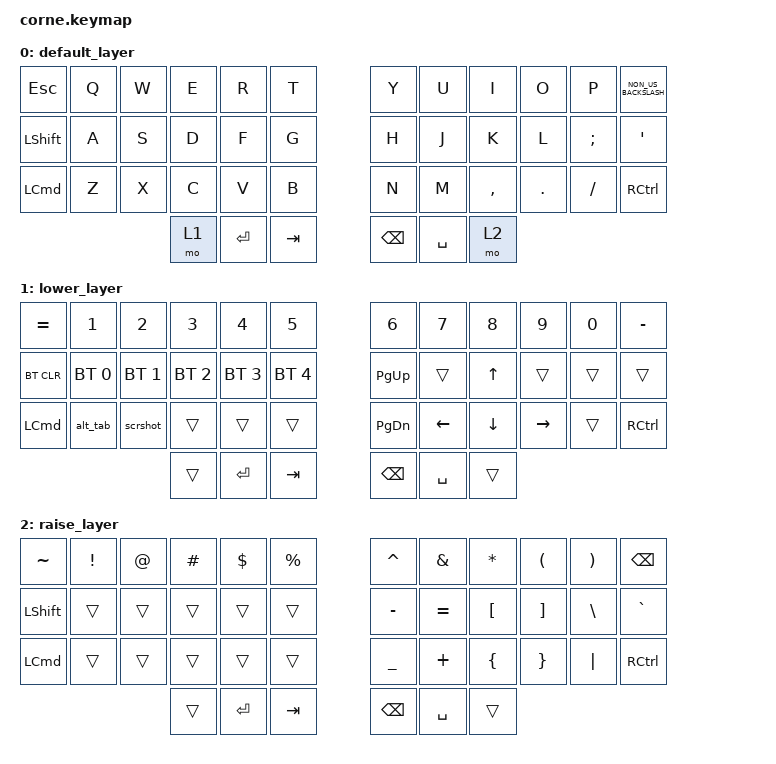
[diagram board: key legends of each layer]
/*
 * Copyright (c) 2020 The ZMK Contributors
 *
 * SPDX-License-Identifier: MIT
 */

#include <behaviors.dtsi>
#include <dt-bindings/zmk/bt.h>
#include <dt-bindings/zmk/keys.h>

/ {
    macros {
        alt_tab: alt_tab {
            compatible = "zmk,behavior-macro";
            #binding-cells = <0>;
            bindings = <&macro_press>, <&kp LEFT_ALT &kp TAB>;

            label = "ALT_TAB";
        };

        scrshot: scrshot {
            compatible = "zmk,behavior-macro";
            #binding-cells = <0>;
            bindings = <&macro_press>, <&kp LCMD &kp LEFT_SHIFT &kp NUMBER_4>;

            label = "SCRSHOT";
        };
    };

    keymap {
        compatible = "zmk,keymap";

        default_layer {
            // -----------------------------------------------------------------------------------------
            // |  TAB |  Q  |  W  |  E  |  R  |  T  |   |  Y  |  U   |  I  |  O  |  P  | BSPC |
            // | CTRL |  A  |  S  |  D  |  F  |  G  |   |  H  |  J   |  K  |  L  |  ;  |  '   |
            // | SHFT |  Z  |  X  |  C  |  V  |  B  |   |  N  |  M   |  ,  |  .  |  /  | ESC  |
            //                    | GUI | LWR | SPC |   | ENT | RSE  | ALT |

            bindings = <
&kp ESCAPE        &kp Q  &kp W  &kp E  &kp R      &kp T      &kp Y          &kp U      &kp I      &kp O    &kp P     &kp NON_US_BACKSLASH
&kp LEFT_SHIFT    &kp A  &kp S  &kp D  &kp F      &kp G      &kp H          &kp J      &kp K      &kp L    &kp SEMI  &kp SQT
&kp LEFT_COMMAND  &kp Z  &kp X  &kp C  &kp V      &kp B      &kp N          &kp M      &kp COMMA  &kp DOT  &kp FSLH  &kp RCTRL
                                &mo 1  &kp ENTER  &kp TAB    &kp BACKSPACE  &kp SPACE  &mo 2
            >;
        };

        lower_layer {
            // -----------------------------------------------------------------------------------------
            // |  TAB |  1  |  2  |  3  |  4  |  5  |   |  6  |  7  |  8  |  9  |  0  | BSPC |
            // | BTCLR| BT1 | BT2 | BT3 | BT4 | BT5 |   | LFT | DWN |  UP | RGT |     |      |
            // | SHFT |     |     |     |     |     |   |     |     |     |     |     |      |
            //                    | GUI |     | SPC |   | ENT |     | ALT |

            bindings = <
&kp EQUAL         &kp N1        &kp N2        &kp N3        &kp N4        &kp N5          &kp N6         &kp N7     &kp N8    &kp N9     &kp N0  &kp MINUS
&bt BT_CLR        &bt BT_SEL 0  &bt BT_SEL 1  &bt BT_SEL 2  &bt BT_SEL 3  &bt BT_SEL 4    &kp PAGE_UP    &trans     &kp UP    &trans     &trans  &trans
&kp LEFT_COMMAND  &alt_tab      &scrshot      &trans        &trans        &trans          &kp PAGE_DOWN  &kp LEFT   &kp DOWN  &kp RIGHT  &trans  &kp RCTRL
                                              &trans        &kp ENTER     &kp TAB         &kp BACKSPACE  &kp SPACE  &trans
            >;
        };

        raise_layer {
            // -----------------------------------------------------------------------------------------
            // |  TAB |  !  |  @  |  #  |  $  |  %  |   |  ^  |  &  |  *  |  (  |  )  | BSPC |
            // | CTRL |     |     |     |     |     |   |  -  |  =  |  [  |  ]  |  \  |  `   |
            // | SHFT |     |     |     |     |     |   |  _  |  +  |  {  |  }  | "|" |  ~   |
            //                    | GUI |     | SPC |   | ENT |     | ALT |

            bindings = <
&kp TILDE         &kp EXCL  &kp AT  &kp HASH  &kp DLLR   &kp PRCNT    &kp CARET      &kp AMPS   &kp ASTRK  &kp LPAR  &kp RPAR  &kp BSPC
&kp LEFT_SHIFT    &trans    &trans  &trans    &trans     &trans       &kp MINUS      &kp EQUAL  &kp LBKT   &kp RBKT  &kp BSLH  &kp GRAVE
&kp LEFT_COMMAND  &trans    &trans  &trans    &trans     &trans       &kp UNDER      &kp PLUS   &kp LBRC   &kp RBRC  &kp PIPE  &kp RCTRL
                                    &trans    &kp ENTER  &kp TAB      &kp BACKSPACE  &kp SPACE  &trans
            >;
        };
    };
};
